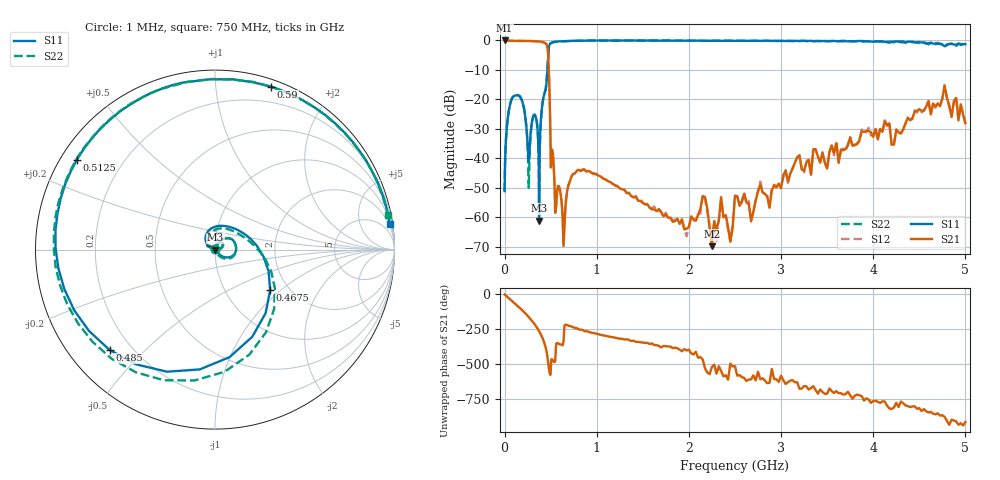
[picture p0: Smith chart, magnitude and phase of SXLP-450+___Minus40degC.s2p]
!Created: 07-15-2009 at 1:45 PM
!MODEL: SXLP-450+
!S/N: U6_TB-40
#MHz S dB R 50
!Frequency  S11 dB  S11 DEG  S21 dB  S21 DEG  S12 dB  S12 DEG  S22 dB  S22 DEG
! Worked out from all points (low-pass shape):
!   401 points, 1 MHz to 5 GHz, reference 50 ohm
!   highest |S21| = -0.02 dB at 1 MHz (marker M1); lowest = -69.8 dB at 2.25 GHz (marker M2)
!   |S21| within 3 dB of the highest: start of sweep to 468.4 MHz
!   lowest |S11| = -61.1 dB at 375 MHz (marker M3), VSWR 1.00, Z = 50.1 + j0.0204 ohm
!   |S11| at or under -10 dB: start of sweep to 464.7 MHz
!   |S22| runs from -56.3 to 0.0 dB; largest |S21 - S12| = 0.0085
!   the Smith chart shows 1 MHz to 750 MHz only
!   S11 on the Smith chart (normalised r, x): 1 MHz: 1.00, +0.00; 467.5 MHz: 1.61, -0.85; 485 MHz: 0.12, -0.39; 512.5 MHz: 0.05, +0.30; 590 MHz: 0.06, +1.40; 750 MHz: 2, +13
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1  -51.14 29.0  -0.02 -0.6  -0.01 -0.6  -51.17 29.2
35  -26.47 61.6  -0.05 -20.2  -0.06 -20.2  -26.45 61.8
120  -18.68 15.4  -0.15 -69.3  -0.15 -69.3  -18.54 13.0
262.5  -41.13 9.4  -0.19 -161.7  -0.19 -161.8  -50.07 6.7
275  -35.30 61.6  -0.20 -171.1  -0.20 -171.1  -36.09 73.4
337.5  -25.88 32.2  -0.28 136.3  -0.28 136.3  -25.65 28.8
375  -61.12 13.4  -0.35 97.1  -0.35 97.0  -56.35 -7.0
435  -17.90 89.7  -0.79 5.8  -0.78 5.5  -17.84 67.0
467.5  -8.36 -36.5  -2.76 -97.6  -2.78 -98.0  -8.00 -33.0
485  -1.82 -136.4  -14.05 172.8  -14.14 172.5  -1.79 -122.9
512.5  -0.74 146.9  -37.23 -104.9  -37.25 -105.2  -0.79 158.6
590  -0.35 71.0  -49.50 5.6  -49.54 6.7  -0.37 77.1
650  -0.24 41.7  -63.14 134.3  -62.91 132.1  -0.27 45.9
750  -0.15 8.4  -45.28 122.5  -45.24 121.8  -0.15 11.2
840  -0.09 -14.1  -43.97 105.9  -44.18 105.7  -0.09 -12.1
1225  -0.06 -84.0  -49.43 46.2  -49.57 47.6  -0.05 -82.6
1675  -0.09 -148.0  -57.20 -9.6  -57.67 -6.0  -0.07 -146.2
2250  -0.11 138.6  -69.82 -160.7  -67.52 -173.3  -0.09 142.5
2525  -0.13 106.2  -52.86 137.3  -53.05 144.3  -0.12 110.3
3350  -0.27 11.4  -36.95 61.9  -37.09 58.1  -0.24 16.5
4175  -0.77 -81.9  -28.13 -98.0  -27.88 -100.8  -0.41 -79.9
5000  -1.28 178.2  -28.05 164.2  -28.17 164.8  -1.19 -178.2
